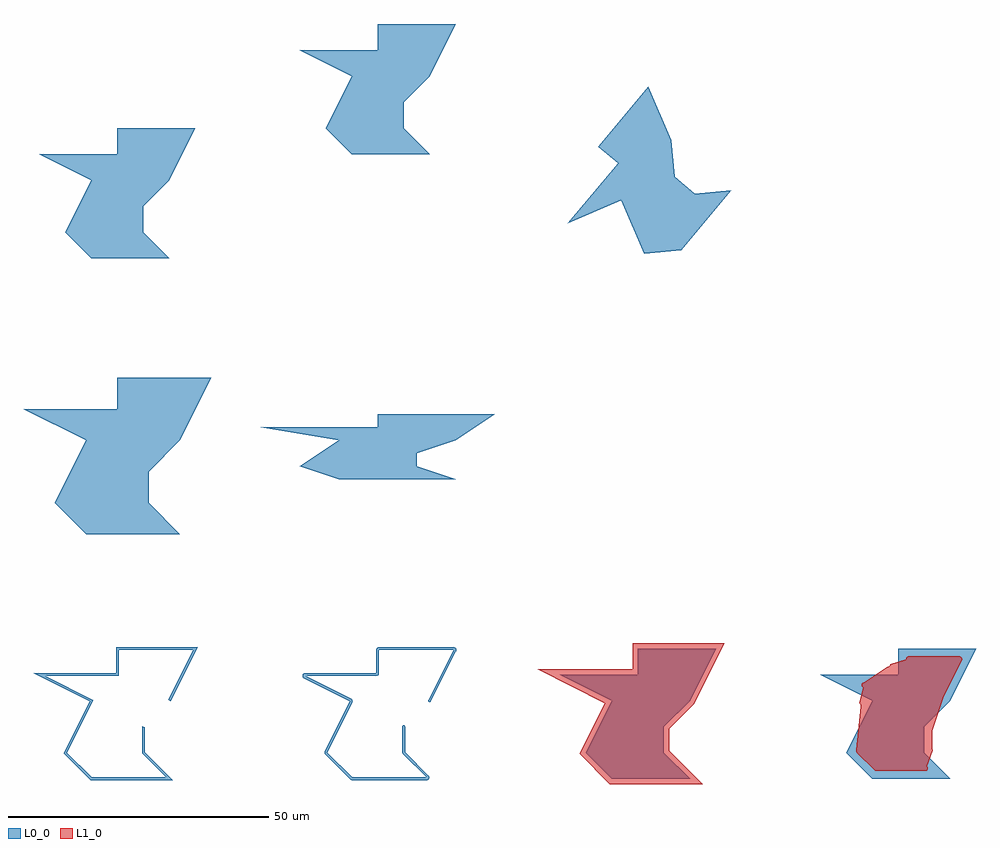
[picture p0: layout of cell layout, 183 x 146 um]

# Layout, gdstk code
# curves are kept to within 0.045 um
import gdstk
lib = gdstk.Library(unit=1e-6, precision=5e-09)
def P(c, l, *ps):  # polygons
    for p in ps: c.add(gdstk.Polygon(p, *l))
L0_0 = (0, 0)
L1_0 = (1, 0)

shape = lib.new_cell('shape')
P(shape, L0_0, [(10,0),(15,10),(0,10),(0,5),(-15,5),(-5,0),(-10,-10),(-5,-15),(10,-15),(5,-10),(5,-5)])

shape_trans = lib.new_cell('shape_trans')
P(shape_trans, L0_0, [(10,20),(15,30),(0,30),(0,25),(-15,25),(-5,20),(-10,10),(-5,5),(10,5),(5,10),(5,15)])

shape_rot = lib.new_cell('shape_rot')
P(shape_rot, L0_0, [(6.43,7.66),(1.98,17.92),(-7.66,6.43),(-3.83,3.215),(-13.47,-8.275),(-3.215,-3.83),(1.235,-14.09),(8.275,-13.47),(17.92,-1.98),(10.875,-2.6),(7.045,0.615)])

shape_scale = lib.new_cell('shape_scale')
P(shape_scale, L0_0, [(12,0),(18,12),(0,12),(0,6),(-18,6),(-6,0),(-12,-12),(-6,-18),(12,-18),(6,-12),(6,-6)])

shape_stretch = lib.new_cell('shape_stretch')
P(shape_stretch, L0_0, [(15,0),(22.5,5),(0,5),(0,2.5),(-22.5,2.5),(-7.5,0),(-15,-5),(-7.5,-7.5),(15,-7.5),(7.5,-5),(7.5,-2.5)])

shapepath1 = lib.new_cell('ShapePath1')
P(shapepath1, L0_0, [(9.795,0.15),(14.595,9.75),(0.25,9.75),(0.25,4.75),(-13.94,4.75),(-4.665,0.11),(-9.695,-9.95),(-4.895,-14.75),(9.395,-14.75),(4.75,-10.105),(4.75,-4.895),(5.25,-5.105),(5.25,-9.895),(10.605,-15.25),(-5.105,-15.25),(-10.305,-10.05),(-5.335,-0.11),(-16.06,5.25),(-0.25,5.25),(-0.25,10.25),(15.405,10.25),(10.205,-0.15)])

shapepath2 = lib.new_cell('ShapePath2')
P(shapepath2, L0_0, [(10.225,-0.11),(10.105,-0.23),(9.91,-0.235),(9.77,-0.105),(9.765,0.09),(14.595,9.75),(0.25,9.75),(0.25,5.225),(0.14,4.935),(-0.12,4.765),(-13.94,4.75),(-5.09,0.325),(-4.89,0.12),(-4.835,-0.08),(-4.875,-0.31),(-9.695,-9.95),(-4.895,-14.75),(9.395,-14.75),(4.805,-10.125),(4.75,-9.925),(4.75,-4.975),(4.805,-4.845),(4.975,-4.75),(5.155,-4.805),(5.25,-4.975),(5.25,-9.895),(9.855,-14.545),(9.895,-14.8),(9.83,-15),(9.67,-15.17),(9.425,-15.25),(-5.025,-15.235),(-5.25,-15.105),(-10.05,-10.305),(-10.195,-10.005),(-10.145,-9.725),(-5.335,-0.11),(-14.17,4.305),(-14.4,4.55),(-14.425,4.88),(-14.255,5.14),(-13.965,5.25),(-0.25,5.25),(-0.25,9.775),(-0.105,10.105),(0.17,10.245),(14.725,10.235),(15.04,9.98),(15.095,9.78),(15.045,9.525)])

shape_grow = lib.new_cell('shape_grow')
P(shape_grow, L0_0, [(10,0),(15,10),(0,10),(0,5),(-15,5),(-5,0),(-10,-10),(-5,-15),(10,-15),(5,-10),(5,-5)])
P(shape_grow, L1_0, [(10.82,-0.59),(16.62,11),(-1,11),(-1,6),(-19.235,6),(-6.34,-0.445),(-11.215,-10.195),(-5.415,-16),(12.415,-16),(6,-9.585),(6,-5.415)])

shape_round = lib.new_cell('shape_round')
P(shape_round, L0_0, [(10,0),(15,10),(0,10),(0,5),(-15,5),(-5,0),(-10,-10),(-5,-15),(10,-15),(5,-10),(5,-5)])
P(shape_round, L1_0, [(12.21,7.775),(12.265,7.975),(12.21,8.23),(12.015,8.435),(11.79,8.5),(1.87,8.485),(1.61,8.315),(1.5,8),(-1.5,7),(-1.565,6.75),(-1.705,6.595),(-2,6.5),(-6.53,3.5),(-6.73,3.46),(-6.93,3.3),(-7.025,3.065),(-7.01,2.86),(-6.75,2.555),(-7.46,-0.445),(-7.25,-0.64),(-7.185,-0.945),(-8.065,-9.66),(-7.94,-9.94),(-4.485,-13.39),(-4.2,-13.5),(5.2,-13.5),(5.545,-13.335),(5.67,-12.95),(5.525,-12.645),(6.645,-9.525),(6.5,-9.2),(6.515,-5.7),(6.645,-5.475),(8.71,0.83)])

layout = lib.new_cell('layout')
layout.add(gdstk.Reference(shape, (0,200)))
layout.add(gdstk.Reference(shape_trans, (50,200)))
layout.add(gdstk.Reference(shape_rot, (100,200)))
layout.add(gdstk.Reference(shape_scale, (0,150)))
layout.add(gdstk.Reference(shape_stretch, (50,150)))
layout.add(gdstk.Reference(shapepath1, (0,100)))
layout.add(gdstk.Reference(shapepath2, (50,100)))
layout.add(gdstk.Reference(shape_grow, (100,100)))
layout.add(gdstk.Reference(shape_round, (150,100)))

lib.write_gds('layout.gds')
